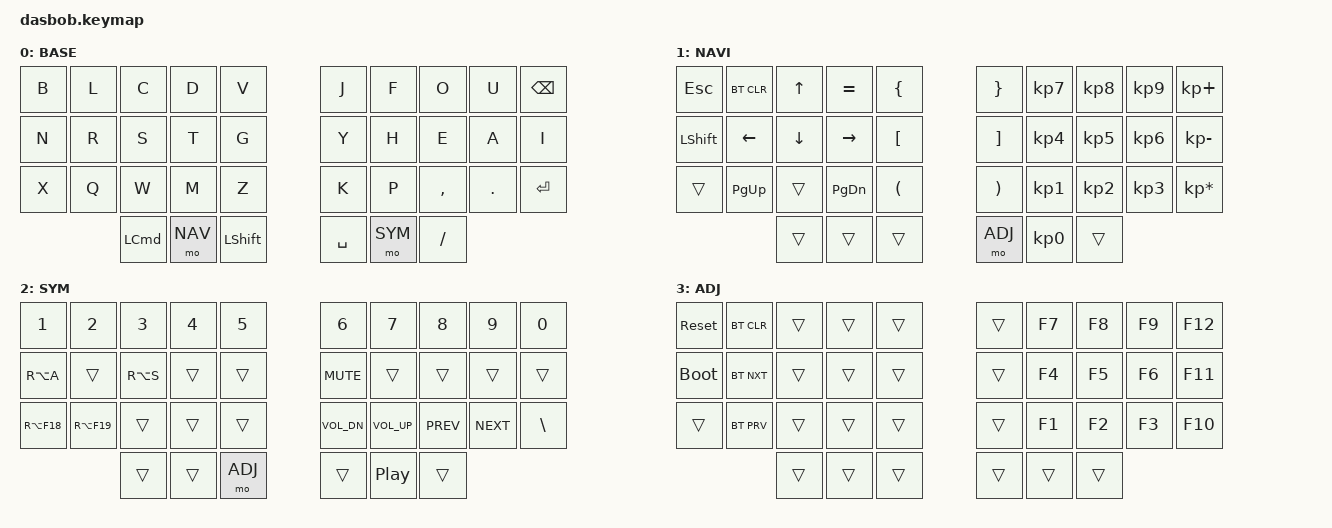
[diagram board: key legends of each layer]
#include <behaviors.dtsi>
#include <dt-bindings/zmk/bt.h>
#include <dt-bindings/zmk/keys.h>

#define BASE 0
#define NAV  1
#define SYM  2
#define ADJ  3

/ {
    combos {
        compatible = "zmk,combos";
        combo_esc {
                timeout-ms = <50>;
                key-positions = <0 1>;
                bindings = <&kp ESC>;
        };
    };

        keymap {
                compatible = "zmk,keymap";
// ▄▄▄▄▄▄▄▄▄▄▄▄▄▄▄▄▄▄▄▄▄▄▄▄▄▄▄▄▄▄▄▄▄▄▄▄▄▄▄▄▄▄▄▄▄▄▄▄▄▄▄▄▄▄▄▄▄▄▄▄▄▄▄▄▄▄▄▄▄▄▄▄▄▄▄▄▄▄▄▄▄▄▄▄▄▄▄▄▄▄▄▄▄▄▄▄▄▄▄▄▄▄▄▄▄▄▄▄▄▄▄▄▄▄▄▄▄▄▄▄▄▄▄▄▄▄▄▄▄▄▄▄▄▄▄▄▄

                base_layer {
// ┏━━━━━━━━━━━━━━━━━━━━━━━━━━━━━━━━━━━━━━━┓
label= "BASE"                              ;
// ┗━━━━━━━━━━━━━━━━━━━━━━━━━━━━━━━━━━━━━━━┛
//             ┏━━━━━━━━━━━┳━━━━━━━━━━━┳━━━━━━━━━━━┳━━━━━━━━━━━┳━━━━━━━━━━━┓   ┏━━━━━━━━━━━┳━━━━━━━━━━━┳━━━━━━━━━━━┳━━━━━━━━━━━┳━━━━━━━━━━━┓
//             ┃     B     ┃     L     ┃     C     ┃     D     ┃     V     ┃   ┃     J     ┃     F     ┃     O     ┃     U     ┃    BSPC   ┃
//             ┣━━━━━━━━━━━╋━━━━━━━━━━━╋━━━━━━━━━━━╋━━━━━━━━━━━╋━━━━━━━━━━━┫   ┣━━━━━━━━━━━╋━━━━━━━━━━━╋━━━━━━━━━━━╋━━━━━━━━━━━╋━━━━━━━━━━━┫
//             ┃     N     ┃     R     ┃     S     ┃     T     ┃     G     ┃   ┃     Y     ┃     H     ┃     E     ┃     A     ┃     I     ┃
//             ┣━━━━━━━━━━━╋━━━━━━━━━━━╋━━━━━━━━━━━╋━━━━━━━━━━━╋━━━━━━━━━━━┫   ┣━━━━━━━━━━━╋━━━━━━━━━━━╋━━━━━━━━━━━╋━━━━━━━━━━━╋━━━━━━━━━━━┫
//             ┃     X     ┃     Q     ┃     W     ┃     M     ┃     Z     ┃   ┃     K     ┃     P     ┃    , <    ┃    . >    ┃    RET    ┃
//             ┗━━━━━━━━━━━┻━━━━━━━━━━━╋━━━━━━━━━━━╋━━━━━━━━━━━╋━━━━━━━━━━━┫   ┣━━━━━━━━━━━╋━━━━━━━━━━━╋━━━━━━━━━━━╋━━━━━━━━━━━┻━━━━━━━━━━━┛
//                                     ┃    CMD    ┃    NAV    ┃   SHIFT   ┃   ┃   SPACE   ┃    SYM    ┃    / ?    ┃
//                                     ┗━━━━━━━━━━━┻━━━━━━━━━━━┻━━━━━━━━━━━┛   ┗━━━━━━━━━━━┻━━━━━━━━━━━┻━━━━━━━━━━━┛
 bindings = <
//             ╷           ╷           ╷           ╷           ╷           ╷   ╷           ╷           ╷           ╷           ╷           ╷

                &kp B       &kp L       &kp C       &kp D       &kp V           &kp J       &kp F       &kp O       &kp U       &kp BSPC
                &kp N       &kp R       &kp S       &kp T       &kp G           &kp Y       &kp H       &kp E       &kp A       &kp I 
                &kp X       &kp Q       &kp W       &kp M       &kp Z           &kp K       &kp P       &kp COMMA   &kp DOT     &kp RET
                                        &kp LCMD    &mo NAV     &kp LSHFT     &kp SPACE     &mo SYM     &kp FSLH
                        >;
                };

// ▄▄▄▄▄▄▄▄▄▄▄▄▄▄▄▄▄▄▄▄▄▄▄▄▄▄▄▄▄▄▄▄▄▄▄▄▄▄▄▄▄▄▄▄▄▄▄▄▄▄▄▄▄▄▄▄▄▄▄▄▄▄▄▄▄▄▄▄▄▄▄▄▄▄▄▄▄▄▄▄▄▄▄▄▄▄▄▄▄▄▄▄▄▄▄▄▄▄▄▄▄▄▄▄▄▄▄▄▄▄▄▄▄▄▄▄▄▄▄▄▄▄▄▄▄▄▄▄▄▄▄▄▄▄▄▄▄

                nav_layer {
// ┏━━━━━━━━━━━━━━━━━━━━━━━━━━━━━━━━━━━━━━━┓
label= "NAVI"                              ;
// ┗━━━━━━━━━━━━━━━━━━━━━━━━━━━━━━━━━━━━━━━┛
//             ┏━━━━━━━━━━━┳━━━━━━━━━━━┳━━━━━━━━━━━┳━━━━━━━━━━━┳━━━━━━━━━━━┓   ┏━━━━━━━━━━━┳━━━━━━━━━━━┳━━━━━━━━━━━┳━━━━━━━━━━━┳━━━━━━━━━━━┓
//             ┃           ┃           ┃     UP    ┃           ┃     {     ┃   ┃     }     ┃     7     ┃     8     ┃     9     ┃     +     ┃
//             ┣━━━━━━━━━━━╋━━━━━━━━━━━╋━━━━━━━━━━━╋━━━━━━━━━━━╋━━━━━━━━━━━┫   ┣━━━━━━━━━━━╋━━━━━━━━━━━╋━━━━━━━━━━━╋━━━━━━━━━━━╋━━━━━━━━━━━┫
//             ┃           ┃   LEFT    ┃    DOWN   ┃   RIGHT   ┃     [     ┃   ┃     ]     ┃     4     ┃     5     ┃     6     ┃     -     ┃
//             ┃━━━━━━━━━━━╋━━━━━━━━━━━╋━━━━━━━━━━━╋━━━━━━━━━━━╋━━━━━━━━━━━┫   ┣━━━━━━━━━━━╋━━━━━━━━━━━╋━━━━━━━━━━━╋━━━━━━━━━━━╋━━━━━━━━━━━┫
//             ┃           ┃   PG UP   ┃           ┃  PG DOWN  ┃     (     ┃   ┃     )     ┃     1     ┃     2     ┃     3     ┃     *     ┃
//             ┗━━━━━━━━━━━┻━━━━━━━━━━━╋━━━━━━━━━━━╋━━━━━━━━━━━╋━━━━━━━━━━━┫   ┣━━━━━━━━━━━╋━━━━━━━━━━━╋━━━━━━━━━━━╋━━━━━━━━━━━┻━━━━━━━━━━━┛
//                                     ┃           ┃           ┃           ┃   ┃    ADJ    ┃     0     ┃           ┃
//                                     ┗━━━━━━━━━━━┻━━━━━━━━━━━┻━━━━━━━━━━━┛   ┗━━━━━━━━━━━┻━━━━━━━━━━━┻━━━━━━━━━━━┛
 bindings = <
// ╷           ╷           ╷           ╷           ╷           ╷           ╷   ╷           ╷           ╷           ╷           ╷           ╷

                &kp ESC     &bt BT_CLR  &kp UP      &kp EQUAL   &kp LBRC        &kp RBRC    &kp KP_N7   &kp KP_N8   &kp KP_N9   &kp KP_PLUS
                &kp LSHFT   &kp LEFT    &kp DOWN    &kp RIGHT   &kp LBKT        &kp RBKT    &kp KP_N4   &kp KP_N5   &kp KP_N6   &kp KP_MINUS
                &trans      &kp PG_UP   &trans      &kp PG_DN   &kp LPAR        &kp RPAR    &kp KP_N1   &kp KP_N2   &kp KP_N3   &kp KP_MULTIPLY  
                                        &trans      &trans      &trans          &mo ADJ     &kp KP_N0   &trans      
                        >;
                };

// ▄▄▄▄▄▄▄▄▄▄▄▄▄▄▄▄▄▄▄▄▄▄▄▄▄▄▄▄▄▄▄▄▄▄▄▄▄▄▄▄▄▄▄▄▄▄▄▄▄▄▄▄▄▄▄▄▄▄▄▄▄▄▄▄▄▄▄▄▄▄▄▄▄▄▄▄▄▄▄▄▄▄▄▄▄▄▄▄▄▄▄▄▄▄▄▄▄▄▄▄▄▄▄▄▄▄▄▄▄▄▄▄▄▄▄▄▄▄▄▄▄▄▄▄▄▄▄▄▄▄▄▄▄▄▄▄▄

            sym_layer {
// ┏━━━━━━━━━━━━━━━━━━━━━━━━━━━━━━━━━━━━━━━┓
label= "SYM"                               ;
// ┗━━━━━━━━━━━━━━━━━━━━━━━━━━━━━━━━━━━━━━━┛
//             ┏━━━━━━━━━━━┳━━━━━━━━━━━┳━━━━━━━━━━━┳━━━━━━━━━━━┳━━━━━━━━━━━┓   ┏━━━━━━━━━━━┳━━━━━━━━━━━┳━━━━━━━━━━━┳━━━━━━━━━━━┳━━━━━━━━━━━┓
//             ┃    1 !    ┃    2 @    ┃    3 #    ┃    4 $    ┃    5 %    ┃   ┃    6 ^    ┃    7 &    ┃     8 *   ┃    9 (    ┃    0 )    ┃
//             ┣━━━━━━━━━━━╋━━━━━━━━━━━╋━━━━━━━━━━━╋━━━━━━━━━━━╋━━━━━━━━━━━┫   ┣━━━━━━━━━━━╋━━━━━━━━━━━╋━━━━━━━━━━━╋━━━━━━━━━━━╋━━━━━━━━━━━┫
//             ┃     Ä     ┃           ┃    SZ     ┃           ┃           ┃   ┃   MUTE    ┃           ┃           ┃           ┃           ┃
//             ┣━━━━━━━━━━━╋━━━━━━━━━━━╋━━━━━━━━━━━╋━━━━━━━━━━━╋━━━━━━━━━━━┫   ┣━━━━━━━━━━━╋━━━━━━━━━━━╋━━━━━━━━━━━╋━━━━━━━━━━━╋━━━━━━━━━━━┫
//             ┃  EMAIL1   ┃  EMAIL2   ┃           ┃           ┃           ┃   ┃   VOL-    ┃   VOL+    ┃   LAST    ┃   NEXT    ┃     \     ┃
//             ┗━━━━━━━━━━━┻━━━━━━━━━━━╋━━━━━━━━━━━╋━━━━━━━━━━━╋━━━━━━━━━━━┫   ┣━━━━━━━━━━━╋━━━━━━━━━━━╋━━━━━━━━━━━╋━━━━━━━━━━━┻━━━━━━━━━━━┛
//                                     ┃           ┃           ┃    ADJ    ┃   ┃           ┃           ┃           ┃
//                                     ┗━━━━━━━━━━━┻━━━━━━━━━━━┻━━━━━━━━━━━┛   ┗━━━━━━━━━━━┻━━━━━━━━━━━┻━━━━━━━━━━━┛
 bindings = <
// ╷           ╷           ╷           ╷           ╷           ╷           ╷   ╷           ╷           ╷           ╷           ╷           ╷

                &kp N1      &kp N2      &kp N3      &kp N4      &kp N5          &kp N6      &kp N7      &kp N8      &kp N9      &kp N0       
                &kp RA(A)   &trans      &kp RA(S)   &trans      &trans          &kp C_MUTE  &trans      &trans      &trans      &trans 
                &kp RA(F18) &kp RA(F19) &trans      &trans      &trans          &kp C_VOL_DN &kp C_VOL_UP &kp C_PREV &kp C_NEXT  &kp BSLH
                                        &trans      &trans      &mo ADJ         &trans      &kp C_PP    &trans      
                        >;
                };

// ▄▄▄▄▄▄▄▄▄▄▄▄▄▄▄▄▄▄▄▄▄▄▄▄▄▄▄▄▄▄▄▄▄▄▄▄▄▄▄▄▄▄▄▄▄▄▄▄▄▄▄▄▄▄▄▄▄▄▄▄▄▄▄▄▄▄▄▄▄▄▄▄▄▄▄▄▄▄▄▄▄▄▄▄▄▄▄▄▄▄▄▄▄▄▄▄▄▄▄▄▄▄▄▄▄▄▄▄▄▄▄▄▄▄▄▄▄▄▄▄▄▄▄▄▄▄▄▄▄▄▄▄▄▄▄▄▄▄

                adjust_layer {
// ┏━━━━━━━━━━━━━━━━━━━━━━━━━━━━━━━━━━━━━━━┓
label= "ADJ"                               ;
// ┗━━━━━━━━━━━━━━━━━━━━━━━━━━━━━━━━━━━━━━━┛
//             ┏━━━━━━━━━━━┳━━━━━━━━━━━┳━━━━━━━━━━━┳━━━━━━━━━━━┳━━━━━━━━━━━┓   ┏━━━━━━━━━━━┳━━━━━━━━━━━┳━━━━━━━━━━━┳━━━━━━━━━━━┳━━━━━━━━━━━┓
//             ┃   RESET   ┃ BT CLEAR  ┃           ┃           ┃           ┃   ┃           ┃    F7     ┃    F8     ┃    F9     ┃    F12    ┃
//             ┣━━━━━━━━━━━╋━━━━━━━━━━━╋━━━━━━━━━━━╋━━━━━━━━━━━╋━━━━━━━━━━━┫   ┣━━━━━━━━━━━╋━━━━━━━━━━━╋━━━━━━━━━━━╋━━━━━━━━━━━╋━━━━━━━━━━━┫
//             ┃ BOOTLOAD  ┃ BT NEXT   ┃           ┃           ┃           ┃   ┃           ┃    F4     ┃    F5     ┃    F6     ┃    F11    ┃
//             ┣━━━━━━━━━━━╋━━━━━━━━━━━╋━━━━━━━━━━━╋━━━━━━━━━━━╋━━━━━━━━━━━┫   ┣━━━━━━━━━━━╋━━━━━━━━━━━╋━━━━━━━━━━━╋━━━━━━━━━━━╋━━━━━━━━━━━┫
//             ┃           ┃ BT PREV   ┃           ┃           ┃           ┃   ┃           ┃    F1     ┃    F2     ┃    F3     ┃    F10    ┃
//             ┗━━━━━━━━━━━┻━━━━━━━━━━━╋━━━━━━━━━━━╋━━━━━━━━━━━╋━━━━━━━━━━━┫   ┣━━━━━━━━━━━╋━━━━━━━━━━━╋━━━━━━━━━━━╋━━━━━━━━━━━┻━━━━━━━━━━━┛
//                                     ┃           ┃           ┃           ┃   ┃           ┃           ┃           ┃
//                                     ┗━━━━━━━━━━━┻━━━━━━━━━━━┻━━━━━━━━━━━┛   ┗━━━━━━━━━━━┻━━━━━━━━━━━┻━━━━━━━━━━━┛
 bindings = <
// ╷           ╷           ╷           ╷           ╷           ╷           ╷   ╷           ╷           ╷           ╷           ╷           ╷

                &sys_reset  &bt BT_CLR  &trans      &trans      &trans          &trans      &kp F7      &kp F8      &kp F9      &kp F12
                &bootloader &bt BT_NXT  &trans      &trans      &trans          &trans      &kp F4      &kp F5      &kp F6      &kp F11  
                &trans      &bt BT_PRV  &trans      &trans      &trans          &trans      &kp F1      &kp F2      &kp F3      &kp F10
                                        &trans      &trans      &trans          &trans      &trans      &trans      
                        >;
                };
        };
};
